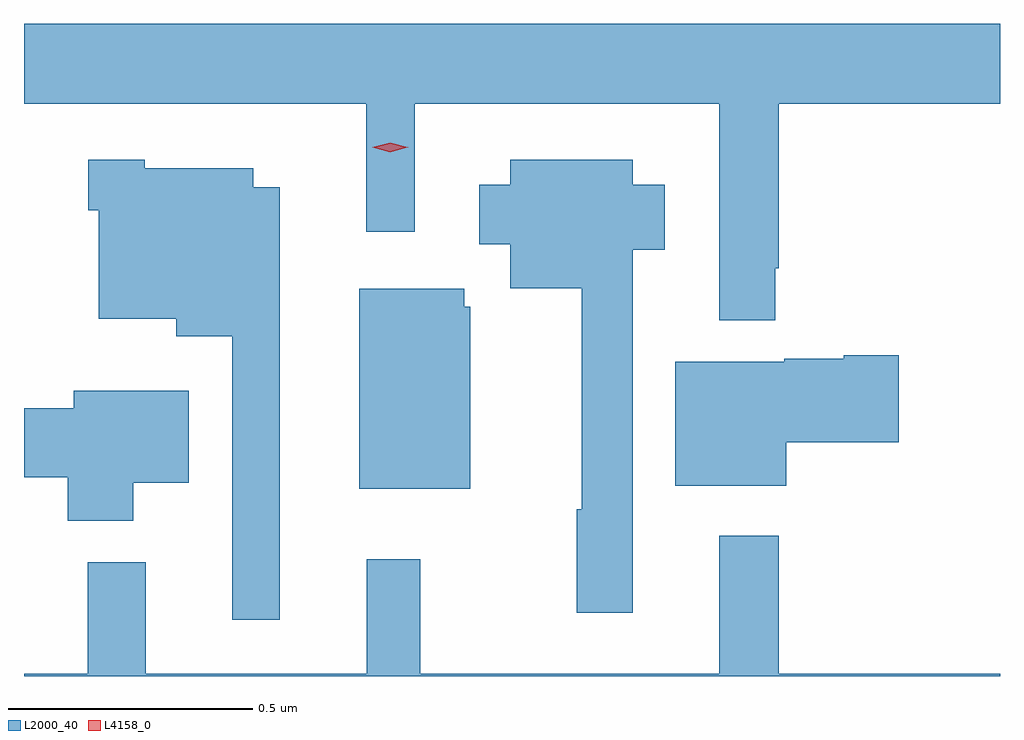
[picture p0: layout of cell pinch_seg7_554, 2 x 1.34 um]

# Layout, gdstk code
import gdstk
lib = gdstk.Library(unit=1e-6, precision=1e-09)
def P(c, l, *ps):  # polygons
    for p in ps: c.add(gdstk.Polygon(p, *l))
L2000_40 = (2000, 40)
L4158_0 = (4158, 0)

pinch_seg7_554 = lib.new_cell('pinch_seg7_554')
P(pinch_seg7_554, L2000_40, [(139.709,1065.547),(139.717,1065.547),(139.717,1065.884),(140.17,1065.884),(140.17,1066.048),(138.17,1066.048),(138.17,1065.884),(138.871,1065.884),(138.871,1065.621),(138.971,1065.621),(138.971,1065.884),(139.595,1065.884),(139.595,1065.44),(139.709,1065.44)],
  [(139.417,1065.584),(139.483,1065.584),(139.483,1065.718),(139.417,1065.718),(139.417,1065.769),(139.166,1065.769),(139.166,1065.718),(139.103,1065.718),(139.103,1065.596),(139.166,1065.596),(139.166,1065.506),(139.313,1065.506),(139.313,1065.053),(139.303,1065.053),(139.303,1064.841),(139.417,1064.841)],
  [(138.694,1065.712),(138.64,1065.712),(138.64,1065.751),(138.417,1065.751),(138.417,1065.769),(138.302,1065.769),(138.302,1065.665),(138.323,1065.665),(138.323,1065.443),(138.482,1065.443),(138.482,1065.407),(138.597,1065.407),(138.597,1064.826),(138.694,1064.826)],
  [(139.084,1065.468),(139.072,1065.468),(139.072,1065.505),(138.857,1065.505),(138.857,1065.095),(139.084,1065.095)],
  [(139.732,1065.19),(139.963,1065.19),(139.963,1065.368),(139.85,1065.368),(139.85,1065.361),(139.728,1065.361),(139.728,1065.355),(139.505,1065.355),(139.505,1065.101),(139.732,1065.101)],
  [(138.394,1065.107),(138.508,1065.107),(138.508,1065.295),(138.272,1065.295),(138.272,1065.26),(138.17,1065.26),(138.17,1065.118),(138.26,1065.118),(138.26,1065.029),(138.394,1065.029)],
  [(138.419,1064.944),(138.301,1064.944),(138.301,1064.716),(138.17,1064.716),(138.17,1064.71),(140.17,1064.71),(140.17,1064.716),(139.717,1064.716),(139.717,1064.998),(139.595,1064.998),(139.595,1064.716),(138.982,1064.716),(138.982,1064.95),(138.872,1064.95),(138.872,1064.716),(138.419,1064.716)])
P(pinch_seg7_554, L4158_0, [(138.92,1065.784),(138.884,1065.794),(138.884,1065.794),(138.884,1065.794),(138.92,1065.804),(138.956,1065.794),(138.957,1065.794),(138.956,1065.794)])

lib.write_gds('pinch_seg7_554.gds')
